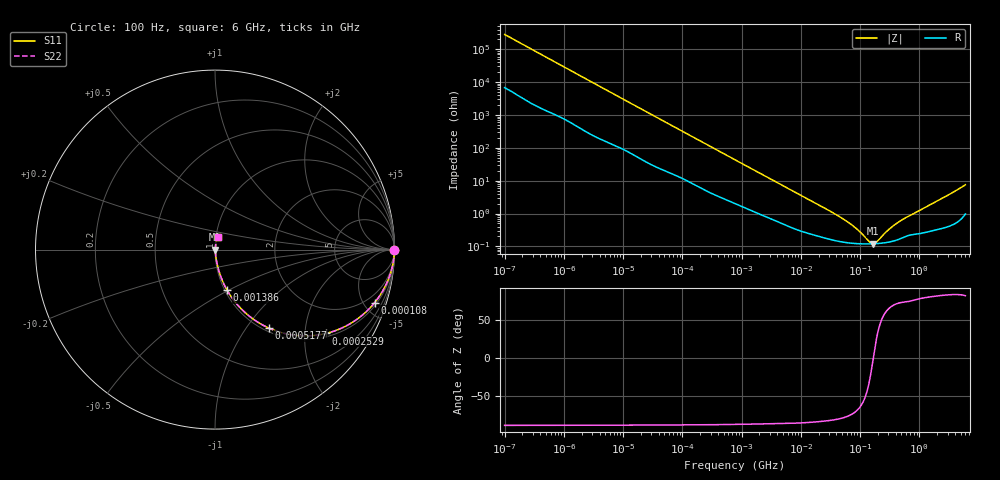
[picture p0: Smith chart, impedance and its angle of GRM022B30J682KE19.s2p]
!Murata Part Number: GRM022B30J682KE19
!These Parameters are Measured in Series Mode Connection
!Data Generated on Mar 30, 2021
!  o--ll--o
!Port1  Port2
!  o------o
!Operation Temp=25[degC], DC Bias Voltage=0[V]
!Freq. Start=100[Hz] Stop=6[GHz] 401[Steps]
# Hz S RI R 50
!Freq.(Hz) S11(Real) S11(Imag) S21(Real) S21(Imag) S12(Real) S12(Imag) S22(Real) S22(Imag)
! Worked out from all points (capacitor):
!   401 points, 100 Hz to 6 GHz, reference 50 ohm
!   read as one part in series: C = 5.58 nF near 109 Hz
!   lowest |Z| = 120 mohm at 166.9 MHz (marker M1)
!   series resonance near 166.9 MHz, so ESL is about 160 pH
!   S11 on the Smith chart (normalised r, x): 100 Hz: open; 108 kHz: 1.22, -5.91; 252.9 kHz: 1.10, -2.57; 517.7 kHz: 1.05, -1.28; 1.386 MHz: 1.03, -0.49; 6 GHz: 1.02, +0.15
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100  1 -0.000353  8.6e-06 0.000353  8.6e-06 0.000353  1 -0.000353
2008  0.9998 -0.00676  0.000214 0.00676  0.000214 0.00676  0.9998 -0.00676
12592  0.9971 -0.0409  0.00291 0.0409  0.00291 0.0409  0.9971 -0.0409
40335  0.9799 -0.1259  0.0201 0.1259  0.0201 0.1259  0.9799 -0.1259
108014  0.8887 -0.2966  0.1113 0.2966  0.1113 0.2966  0.8887 -0.2966
161617  0.7907 -0.3886  0.2093 0.3886  0.2093 0.3886  0.7907 -0.3886
252896  0.6196 -0.4669  0.3804 0.4669  0.3804 0.4669  0.6196 -0.4669
361830  0.4533 -0.4782  0.5467 0.4782  0.5467 0.4782  0.4533 -0.4782
517687  0.2982 -0.4365  0.7018 0.4365  0.7018 0.4365  0.2982 -0.4365
774597  0.1687 -0.3519  0.8313 0.3519  0.8313 0.3519  0.1687 -0.3519
1386327  0.0673 -0.226  0.9327 0.226  0.9327 0.226  0.0673 -0.226
3882480  0.0138 -0.0889  0.9862 0.0889  0.9862 0.0889  0.0138 -0.0889
1.555665e7  0.00284 -0.0234  0.9972 0.0234  0.9972 0.0234  0.00284 -0.0234
3.64232e7  0.00162 -0.00994  0.9984 0.00994  0.9984 0.00994  0.00162 -0.00994
6.233367e7  0.00131 -0.00532  0.9987 0.00532  0.9987 0.00532  0.00131 -0.00532
9.326766e7  0.00121 -0.00285  0.9988 0.00285  0.9988 0.00285  0.00121 -0.00285
1.459435e8  0.00119 -0.000624  0.9988 0.000624  0.9988 0.000624  0.00119 -0.000624
1.669249e8  0.0012 8e-07  0.9988 -8e-07  0.9988 -8e-07  0.0012 8e-07
1.909225e8  0.00121 0.000625  0.9988 -0.000625  0.9988 -0.000625  0.00121 0.000625
3.124326e8  0.00137 0.00308  0.9986 -0.00308  0.9986 -0.00308  0.00137 0.00308
5.59173e8  0.00196 0.00679  0.998 -0.00679  0.998 -0.00679  0.00196 0.00679
6e9  0.015 0.0727  0.985 -0.0727  0.985 -0.0727  0.015 0.0727
